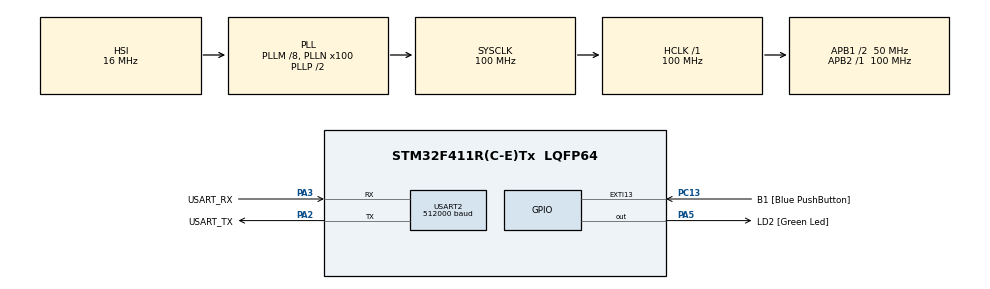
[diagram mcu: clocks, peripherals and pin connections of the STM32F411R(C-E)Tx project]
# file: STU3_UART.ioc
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Dma.Request0=USART2_RX
Dma.Request1=USART2_TX
Dma.USART2_RX.0.Direction=DMA_PERIPH_TO_MEMORY
Dma.USART2_RX.0.FIFOMode=DMA_FIFOMODE_DISABLE
Dma.USART2_RX.0.Instance=DMA1_Stream5
Dma.USART2_RX.0.MemDataAlignment=DMA_MDATAALIGN_BYTE
Dma.USART2_RX.0.MemInc=DMA_MINC_ENABLE
Dma.USART2_RX.0.Mode=DMA_NORMAL
Dma.USART2_RX.0.PeriphDataAlignment=DMA_PDATAALIGN_BYTE
Dma.USART2_RX.0.PeriphInc=DMA_PINC_DISABLE
Dma.USART2_RX.0.Priority=DMA_PRIORITY_LOW
Dma.USART2_TX.1.Direction=DMA_MEMORY_TO_PERIPH
Dma.USART2_TX.1.FIFOMode=DMA_FIFOMODE_DISABLE
Dma.USART2_TX.1.Instance=DMA1_Stream6
Dma.USART2_TX.1.MemDataAlignment=DMA_MDATAALIGN_BYTE
Dma.USART2_TX.1.MemInc=DMA_MINC_ENABLE
Dma.USART2_TX.1.Mode=DMA_NORMAL
Dma.USART2_TX.1.PeriphDataAlignment=DMA_PDATAALIGN_BYTE
Dma.USART2_TX.1.PeriphInc=DMA_PINC_DISABLE
Dma.USART2_TX.1.Priority=DMA_PRIORITY_LOW
Mcu.Family=STM32F4
Mcu.Name=STM32F411R(C-E)Tx
Mcu.Package=LQFP64
NVIC.DMA1_Stream5_IRQn=true\:0\:0\:false\:false\:true\:false\:true
NVIC.DMA1_Stream6_IRQn=true\:0\:0\:false\:false\:true\:false\:true
NVIC.PriorityGroup=NVIC_PRIORITYGROUP_0
NVIC.TIM1_TRG_COM_TIM11_IRQn=true\:0\:0\:false\:false\:true\:true\:true
NVIC.USART2_IRQn=true\:0\:0\:false\:false\:true\:true\:true
PA13.GPIO_Label=TMS
PA13.Mode=Serial_Wire
PA13.Signal=SYS_JTMS-SWDIO
PA14.GPIO_Label=TCK
PA14.Mode=Serial_Wire
PA14.Signal=SYS_JTCK-SWCLK
PA2.GPIO_Label=USART_TX
PA2.Mode=Asynchronous
PA2.Signal=USART2_TX
PA3.GPIO_Label=USART_RX
PA3.Mode=Asynchronous
PA3.Signal=USART2_RX
PA5.GPIO_Label=LD2 [Green Led]
PA5.Signal=GPIO_Output
PB3.GPIO_Label=SWO
PB3.Signal=SYS_JTDO-SWO
PC13-ANTI_TAMP.GPIO_Label=B1 [Blue PushButton]
PC13-ANTI_TAMP.GPIO_ModeDefaultEXTI=GPIO_MODE_IT_FALLING
PC13-ANTI_TAMP.Signal=GPXTI13
PC14-OSC32_IN.Mode=LSE-External-Oscillator
PC14-OSC32_IN.Signal=RCC_OSC32_IN
PC15-OSC32_OUT.Mode=LSE-External-Oscillator
PC15-OSC32_OUT.Signal=RCC_OSC32_OUT
PH0\ -\ OSC_IN.Mode=HSE-External-Clock-Source
PH0\ -\ OSC_IN.Signal=RCC_OSC_IN
PH1\ -\ OSC_OUT.Mode=HSE-External-Clock-Source
PH1\ -\ OSC_OUT.Signal=RCC_OSC_OUT
ProjectManager.HeapSize=0x200
ProjectManager.StackSize=0x400
ProjectManager.TargetToolchain=STM32CubeIDE
RCC.48MHZClocksFreq_Value=50000000
RCC.AHBFreq_Value=100000000
RCC.APB1CLKDivider=RCC_HCLK_DIV2
RCC.APB1Freq_Value=50000000
RCC.APB1TimFreq_Value=100000000
RCC.APB2Freq_Value=100000000
RCC.APB2TimFreq_Value=100000000
RCC.CortexFreq_Value=100000000
RCC.FLatency-AdvancedSettings=FLASH_LATENCY_3
RCC.HCLKFreq_Value=100000000
RCC.HSE_VALUE=8000000
RCC.HSI_VALUE=16000000
RCC.PLLM=8
RCC.PLLN=100
RCC.SYSCLKFreq_VALUE=100000000
RCC.SYSCLKSource=RCC_SYSCLKSOURCE_PLLCLK
RCC.VCOOutputFreq_Value=200000000
TIM11.Prescaler=99
USART2.BaudRate=512000
USART2.Parity=PARITY_EVEN
USART2.VirtualMode=VM_ASYNC
USART2.WordLength=WORDLENGTH_9B
VP_TIM11_VS_ClockSourceINT.Mode=Enable_Timer
board=NUCLEO-F411RE

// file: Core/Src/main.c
/* USER CODE BEGIN Header */
/**
  ******************************************************************************
  * @file           : main.c
  * @brief          : Main program body
  ******************************************************************************
  * @attention
  *
  * Copyright (c) 2022 STMicroelectronics.
  * All rights reserved.
  *
  * This software is licensed under terms that can be found in the LICENSE file
  * in the root directory of this software component.
  * If no LICENSE file comes with this software, it is provided AS-IS.
  *
  ******************************************************************************
  */
/* USER CODE END Header */
#include "main.h"

/* USER CODE BEGIN Includes */
#include <stdio.h>
#include <string.h>
#include <math.h>
/* USER CODE END Includes */

TIM_HandleTypeDef htim11;

UART_HandleTypeDef huart2;
DMA_HandleTypeDef hdma_usart2_rx;
DMA_HandleTypeDef hdma_usart2_tx;

/* USER CODE BEGIN PV */
uint8_t temp_s[2]="Xu";
uint8_t temp_f[2]="Fn";
////////////// transmit parameter ////////////////////
uint8_t Req_sta[4] = {153,0,5,97}; //////////////// station 5
//////////////////////////////////////////////////////
//uint8_t Req_AngPosi[4] = {154,0,0,0};
uint8_t Req_AngPosi[4] = {154,61,18,22};/////////// 15634 , 1.5634 rad 90 degree 6.10865
//uint8_t Req_AngPosi[4] = {154,122,183,52};/////////// 31415 , 3.1415 rad 180 degree
int DataProtocol_AngPosi;
////////////// control///////////////////////////////////
float KalV = 0.942478; // Velo / rad
float KalP = 4.27606; // AngPosi / rad
////////////////////////////////////////////////////////
uint8_t Req_MaxVelo[4] = {155,0,127,229};////////// 5 rpm
float DataProtocol_Velo;
//float DataProtocol_Velo;
////////////// Receive parameter ////////////////////
int Set_AngVelo[2];
float DataProtocol_SetVelo;
float Velocity;
/////////////////////////////////////////////////////
int Set_AngPosi[2];
int DataProtocol_SetAngPosi;
float Finalposition;
/////////////////////////////////////////////////////
int Set1_Sta;
uint8_t Set_Goal_1Sta[2];
uint8_t Set_Goal_nSta[20];
int Goal_nsta[20];
/////////////////////////////////////////////////////
uint16_t datasize = 0;
uint8_t chkStart;
uint8_t chkStart2;
uint8_t NameM;
uint8_t StartM;
uint8_t chkM = 0;
uint8_t chksum;
uint8_t chksum1;
uint8_t chksum2;
uint8_t chksum3;
uint8_t dataF1;
uint8_t dataF2;
uint8_t M_state;
uint8_t Posdata;
uint8_t Nstation;
uint8_t dataFSum;

uint64_t _micros = 0;
uint64_t timestamp = 0;
uint8_t Ang_Position = 0;

uint16_t encdummbuf = 0;

/* USER CODE END PV */

void SystemClock_Config(void);
static void MX_GPIO_Init(void);
static void MX_DMA_Init(void);
static void MX_USART2_UART_Init(void);
static void MX_TIM11_Init(void);
/* USER CODE BEGIN PFP */
void All_mode();
void check_Mode();
void AngPos_Dummy();
uint64_t micros();
void HAL_TIM_PeriodElapsedCallback();
/* USER CODE END PFP */

/* USER CODE BEGIN 0 */

#define RxBuf_SIZE   32
#define MainBuf_SIZE 32

uint8_t RxBuf[RxBuf_SIZE];
uint8_t MainBuf[MainBuf_SIZE];

uint16_t oldPos = 0;
uint16_t newPos = 0;

void HAL_UARTEx_RxEventCallback(UART_HandleTypeDef *huart, uint16_t Size)
{
	if (huart->Instance == USART2)
	{
		oldPos = newPos;
		datasize = Size;
		if (oldPos+Size > MainBuf_SIZE)
		{
			oldPos = 0;
			memcpy ((uint8_t *)MainBuf+oldPos, RxBuf, Size);
			newPos = Size+oldPos;
		}
		else
		{
			memcpy ((uint8_t *)MainBuf+oldPos, RxBuf, Size);
			newPos = Size+oldPos;
		}

		StartM = MainBuf[newPos-datasize];
		chkStart = StartM >> 4;
		NameM = (StartM & 15);
		if (chkStart == 9){//1001
			if (NameM >= 1 && NameM <= 14){//0001 - 1110
				check_Mode();
			}
		}
		else if (StartM == 88) {
			StartM = MainBuf[newPos-2];
			chkStart = StartM >> 4;
			NameM = (StartM & 15);
			if (chkStart == 9){
				if (NameM >= 1 && NameM <= 14){
				check_Mode();
				}
			}
		}

		HAL_UARTEx_ReceiveToIdle_DMA(&huart2, (uint8_t *) RxBuf, RxBuf_SIZE)  ;
		__HAL_DMA_DISABLE_IT(&hdma_usart2_rx, DMA_IT_HT);

	}
}
void check_Mode()
{
		switch (NameM){
			case 1: //10010001 01000000 00000000 00101110
				chksum = MainBuf[newPos-1];
				dataF2 = MainBuf[newPos-2];
				dataF1 = MainBuf[newPos-3];
				chksum2 = ~(StartM + dataF1 + dataF2);
				if (chksum == chksum2){
					M_state = 1;
					HAL_UART_Transmit_DMA(&huart2, (uint8_t*)temp_s, 2);
					//HAL_UART_Transmit(&huart2, (uint8_t*)temp_s, 2 ,1000); //Xu
				}
				break;
			case 2: //10010010 01101101
				chksum = MainBuf[newPos-1];
				chksum1 = ~(StartM);
				if (chksum == chksum1){
					M_state = 2;
					HAL_UART_Transmit_DMA(&huart2, (uint8_t*)temp_s, 2);
					//HAL_UART_Transmit(&huart2, (uint8_t*)temp_s, 2 ,1000); //Xu
				}
				break;
			case 3: //10010011 01101100
					chksum = MainBuf[newPos-1];
					chksum1 = ~(StartM);
				if (chksum == chksum1){
					M_state = 3;
					HAL_UART_Transmit_DMA(&huart2, (uint8_t*)temp_s, 2);
					//HAL_UART_Transmit(&huart2, (uint8_t*)temp_s, 2 ,1000); //Xu
				}
				break;
			case 4:
					chksum = MainBuf[newPos-1];
					dataF2 = MainBuf[newPos-2];
					dataF1 = MainBuf[newPos-3];
					Set_AngVelo[0] = dataF1;
					Set_AngVelo[1] = dataF2;
					chksum2 = ~(StartM + dataF1 + dataF2);
				if (chksum == chksum2){
					M_state = 4;
					DataProtocol_SetVelo = Set_AngVelo[1];
					Velocity = (DataProtocol_SetVelo * 10)/255;
					HAL_UART_Transmit_DMA(&huart2, (uint8_t*)temp_s, 2);
					//HAL_UART_Transmit(&huart2, (uint8_t*)temp_s, 2 ,1000); //Xu
				}
				break;
			case 5:
					chksum = MainBuf[newPos-1];
					dataF2 = MainBuf[newPos-2];
					dataF1 = MainBuf[newPos-3];
					Set_AngPosi[0] = dataF1;
					Set_AngPosi[1] = dataF2;
					chksum2 = ~(StartM + dataF1 + dataF2);
				if (chksum == chksum2){
					M_state = 5;
					DataProtocol_SetAngPosi = (Set_AngPosi[0]*256) + Set_AngPosi[1];
					Finalposition = (DataProtocol_SetAngPosi / (3.14 * 10000) * 180);
					HAL_UART_Transmit_DMA(&huart2, (uint8_t*)temp_s, 2);
					//HAL_UART_Transmit(&huart2, (uint8_t*)temp_s, 2 ,1000); //Xu
				}
				break;
			case 6:
					chksum = MainBuf[newPos-1];
					dataF2 = MainBuf[newPos-2];
					dataF1 = MainBuf[newPos-3];
					Set_Goal_1Sta[0] = dataF1;
					Set_Goal_1Sta[1] = dataF2;
					chksum2 = ~(StartM + dataF1 + dataF2);
				if (chksum == chksum2){
					M_state = 6;
					Set1_Sta = Set_Goal_1Sta[1];
					HAL_UART_Transmit_DMA(&huart2, (uint8_t*)temp_s, 2);
					//HAL_UART_Transmit(&huart2, (uint8_t*)temp_s, 2 ,1000); //Xu
				}
				break;
			case 7:
				Nstation = MainBuf[(newPos-datasize)+1];
				int y = Nstation;
				int z = (y/2) + (y%2);
				int k = 0;
				for(int i=0; i < z; i++ ){
					dataFSum += MainBuf[oldPos+(i+2)];
					Set_Goal_nSta[i] = MainBuf[oldPos+(i+2)];
				}
				for(int x=1; x < Nstation+1; x++){
					if(x % 2 == 1){
						Goal_nsta[x-1] = (Set_Goal_nSta[k] % 16);
					}else if(x % 2 == 0){
						Goal_nsta[x-1] = (Set_Goal_nSta[k] / 16);
						k += 1;
					}
				}
				chksum = MainBuf[newPos-1];
				chksum3 = ~(StartM + Nstation + dataFSum);
				if (chksum == chksum3){
					M_state = 7;

					dataFSum = 0;
					HAL_UART_Transmit_DMA(&huart2, (uint8_t*)temp_s, 2);
					//HAL_UART_Transmit(&huart2, (uint8_t*)temp_s, 2 ,1000); //Xu
				}
				break;
			case 8: //10011000 01100111
				chksum = MainBuf[newPos-1];
				chksum1 = ~(StartM);
				if (chksum == chksum1){
					M_state = 8;
					HAL_UART_Transmit_DMA(&huart2, (uint8_t*)temp_s, 2);
					//HAL_UART_Transmit(&huart2, (uint8_t*)temp_s, 2 ,1000); //Xu
					///////////////// work //////////////////////////
					HAL_UART_Transmit_DMA(&huart2, (uint8_t*)temp_f, 2);
					//HAL_UART_Transmit(&huart2, (uint8_t*)temp_f, 2 ,1000);
				}
				break;
			case 9: //10011001 01100110
				chksum = MainBuf[newPos-1];
				chksum1 = ~(StartM);
				if (chksum == chksum1){
					M_state = 9;
//					HAL_UART_Transmit_DMA(&huart2, (uint8_t*)temp_s, 2);
//					HAL_UART_Transmit_DMA(&huart2, (uint8_t*)Req_sta, 4);
					HAL_UART_Transmit(&huart2, (uint8_t*)temp_s, 2 ,1000);
					//Req_sta[1] = 0;
					//Req_sta[2] = x;
					//Req_sta[3] = ~(Req_sta[0] + Req_sta[1] + Req_sta[2]);
					HAL_UART_Transmit(&huart2, (uint8_t*)Req_sta, 4 ,1000);
				}
				break;
			case 10: //10011010 01100101
				chksum = MainBuf[newPos-1];
				chksum1 = ~(StartM);
				if (chksum == chksum1){
					M_state = 10;
//					HAL_UART_Transmit_DMA(&huart2, (uint8_t*)temp_s, 2);
					HAL_UART_Transmit(&huart2, (uint8_t*)temp_s, 2 ,1000);
//					DataProtocol_AngPosi = (KalP * 10000);
//					Req_AngPosi[1] = (DataProtocol_AngPosi / 256);
//					Req_AngPosi[2] = (DataProtocol_AngPosi % 256);
//					Req_AngPosi[3] = ~(Req_AngPosi[0] + Req_AngPosi[1] + Req_AngPosi[2]);
//					HAL_UART_Transmit_DMA(&huart2, (uint8_t*)Req_AngPosi, 4);
					HAL_UART_Transmit(&huart2, (uint8_t*)Req_AngPosi, 4 ,1000);
				}
				break;
			case 11: //10011011 01100100
				chksum = MainBuf[newPos-1];
				chksum1 = ~(StartM);
				if (chksum == chksum1){
					M_state = 11;
//					HAL_UART_Transmit_DMA(&huart2, (uint8_t*)temp_s, 2);
					HAL_UART_Transmit(&huart2, (uint8_t*)temp_s, 2 ,1000);
//					DataProtocol_Velo = (KalV/(2 * 3.14)) * 60;
//					Req_MaxVelo[1] = 0;
//					Req_MaxVelo[2] = (DataProtocol_Velo * 255) / 10;
//					Req_MaxVelo[3] = ~(Req_MaxVelo[0] + Req_MaxVelo[1] + Req_MaxVelo[2]);
//					HAL_UART_Transmit_DMA(&huart2, (uint8_t*)Req_MaxVelo, 4);
					HAL_UART_Transmit(&huart2, (uint8_t*)Req_MaxVelo, 4 ,1000);
				}
				break;
			case 12: //10011100 01100011
				chksum = MainBuf[newPos-1];
				chksum1 = ~(StartM);
				if (chksum == chksum1){
					M_state = 12;
//					HAL_UART_Transmit_DMA(&huart2, (uint8_t*)temp_s, 2);
					HAL_UART_Transmit(&huart2, (uint8_t*)temp_s, 2 ,1000); //Xu
				}
				break;
			case 13: //10011101 01100010
				chksum = MainBuf[newPos-1];
				chksum1 = ~(StartM);
				if (chksum == chksum1){
					M_state = 13;
//					HAL_UART_Transmit_DMA(&huart2, (uint8_t*)temp_s, 2);
					HAL_UART_Transmit(&huart2, (uint8_t*)temp_s, 2 ,1000); //Xu
				}
				break;
			case 14: //10011110 01100001
				chksum = MainBuf[newPos-1];
				chksum1 = ~(StartM);
				if (chksum == chksum1){
					M_state = 14;
//					HAL_UART_Transmit_DMA(&huart2, (uint8_t*)temp_s, 2);
					HAL_UART_Transmit(&huart2, (uint8_t*)temp_s, 2 ,1000); //Xu
				}
				break;
			}

}
/* USER CODE END 0 */

int main(void)
{

  /* MCU Configuration--------------------------------------------------------*/

  /* Reset of all peripherals, Initializes the Flash interface and the Systick. */
  HAL_Init();

  /* Configure the system clock */
  SystemClock_Config();

  /* Initialize all configured peripherals */
  MX_GPIO_Init();
  MX_DMA_Init();
  MX_USART2_UART_Init();
  MX_TIM11_Init();
  /* USER CODE BEGIN 2 */
  HAL_UARTEx_ReceiveToIdle_DMA(&huart2, RxBuf, RxBuf_SIZE);
  __HAL_DMA_DISABLE_IT(&hdma_usart2_rx, DMA_IT_HT);
  HAL_TIM_Base_Start_IT(&htim11);

  /* USER CODE END 2 */

  /* Infinite loop */
  while (1)
  {

    /* USER CODE BEGIN 3 */

	  if(micros() - timestamp >= 100000){
		  timestamp = micros();
		  encdummbuf++;
		  encdummbuf%=1023;
		  KalP = 0.006136 * encdummbuf;
	  }
  }
  /* USER CODE END 3 */
}

void SystemClock_Config(void)
{
  RCC_OscInitTypeDef RCC_OscInitStruct = {0};
  RCC_ClkInitTypeDef RCC_ClkInitStruct = {0};

  /** Configure the main internal regulator output voltage
  */
  __HAL_RCC_PWR_CLK_ENABLE();
  __HAL_PWR_VOLTAGESCALING_CONFIG(PWR_REGULATOR_VOLTAGE_SCALE1);
  /** Initializes the RCC Oscillators according to the specified parameters
  * in the RCC_OscInitTypeDef structure.
  */
  RCC_OscInitStruct.OscillatorType = RCC_OSCILLATORTYPE_HSI;
  RCC_OscInitStruct.HSIState = RCC_HSI_ON;
  RCC_OscInitStruct.HSICalibrationValue = RCC_HSICALIBRATION_DEFAULT;
  RCC_OscInitStruct.PLL.PLLState = RCC_PLL_ON;
  RCC_OscInitStruct.PLL.PLLSource = RCC_PLLSOURCE_HSI;
  RCC_OscInitStruct.PLL.PLLM = 8;
  RCC_OscInitStruct.PLL.PLLN = 100;
  RCC_OscInitStruct.PLL.PLLP = RCC_PLLP_DIV2;
  RCC_OscInitStruct.PLL.PLLQ = 4;
  if (HAL_RCC_OscConfig(&RCC_OscInitStruct) != HAL_OK)
  {
    Error_Handler();
  }
  /** Initializes the CPU, AHB and APB buses clocks
  */
  RCC_ClkInitStruct.ClockType = RCC_CLOCKTYPE_HCLK|RCC_CLOCKTYPE_SYSCLK
                              |RCC_CLOCKTYPE_PCLK1|RCC_CLOCKTYPE_PCLK2;
  RCC_ClkInitStruct.SYSCLKSource = RCC_SYSCLKSOURCE_PLLCLK;
  RCC_ClkInitStruct.AHBCLKDivider = RCC_SYSCLK_DIV1;
  RCC_ClkInitStruct.APB1CLKDivider = RCC_HCLK_DIV2;
  RCC_ClkInitStruct.APB2CLKDivider = RCC_HCLK_DIV1;

  if (HAL_RCC_ClockConfig(&RCC_ClkInitStruct, FLASH_LATENCY_3) != HAL_OK)
  {
    Error_Handler();
  }
}

static void MX_TIM11_Init(void)
{

  htim11.Instance = TIM11;
  htim11.Init.Prescaler = 99;
  htim11.Init.CounterMode = TIM_COUNTERMODE_UP;
  htim11.Init.Period = 65535;
  htim11.Init.ClockDivision = TIM_CLOCKDIVISION_DIV1;
  htim11.Init.AutoReloadPreload = TIM_AUTORELOAD_PRELOAD_DISABLE;
  if (HAL_TIM_Base_Init(&htim11) != HAL_OK)
  {
    Error_Handler();
  }

}

static void MX_USART2_UART_Init(void)
{

  huart2.Instance = USART2;
  huart2.Init.BaudRate = 512000;
  huart2.Init.WordLength = UART_WORDLENGTH_9B;
  huart2.Init.StopBits = UART_STOPBITS_1;
  huart2.Init.Parity = UART_PARITY_EVEN;
  huart2.Init.Mode = UART_MODE_TX_RX;
  huart2.Init.HwFlowCtl = UART_HWCONTROL_NONE;
  huart2.Init.OverSampling = UART_OVERSAMPLING_16;
  if (HAL_UART_Init(&huart2) != HAL_OK)
  {
    Error_Handler();
  }

}

static void MX_DMA_Init(void)
{

  /* DMA controller clock enable */
  __HAL_RCC_DMA1_CLK_ENABLE();

  /* DMA interrupt init */
  /* DMA1_Stream5_IRQn interrupt configuration */
  HAL_NVIC_SetPriority(DMA1_Stream5_IRQn, 0, 0);
  HAL_NVIC_EnableIRQ(DMA1_Stream5_IRQn);
  /* DMA1_Stream6_IRQn interrupt configuration */
  HAL_NVIC_SetPriority(DMA1_Stream6_IRQn, 0, 0);
  HAL_NVIC_EnableIRQ(DMA1_Stream6_IRQn);

}

static void MX_GPIO_Init(void)
{
  GPIO_InitTypeDef GPIO_InitStruct = {0};

  /* GPIO Ports Clock Enable */
  __HAL_RCC_GPIOC_CLK_ENABLE();
  __HAL_RCC_GPIOH_CLK_ENABLE();
  __HAL_RCC_GPIOA_CLK_ENABLE();
  __HAL_RCC_GPIOB_CLK_ENABLE();

  /*Configure GPIO pin Output Level */
  HAL_GPIO_WritePin(LD2_GPIO_Port, LD2_Pin, GPIO_PIN_RESET);

  /*Configure GPIO pin : B1_Pin */
  GPIO_InitStruct.Pin = B1_Pin;
  GPIO_InitStruct.Mode = GPIO_MODE_IT_FALLING;
  GPIO_InitStruct.Pull = GPIO_NOPULL;
  HAL_GPIO_Init(B1_GPIO_Port, &GPIO_InitStruct);

  /*Configure GPIO pin : LD2_Pin */
  GPIO_InitStruct.Pin = LD2_Pin;
  GPIO_InitStruct.Mode = GPIO_MODE_OUTPUT_PP;
  GPIO_InitStruct.Pull = GPIO_NOPULL;
  GPIO_InitStruct.Speed = GPIO_SPEED_FREQ_LOW;
  HAL_GPIO_Init(LD2_GPIO_Port, &GPIO_InitStruct);

}

/* USER CODE BEGIN 4 */
void HAL_TIM_PeriodElapsedCallback(TIM_HandleTypeDef *htim)
{
 if(htim == &htim11)
 {
	 _micros += 65535;
 }
}
//TIM microsecond measure function Read time of _micros  + time of TIM11
uint64_t micros()
{
	return _micros + htim11.Instance->CNT;
}
/* USER CODE END 4 */

void Error_Handler(void)
{
  __disable_irq();
  while (1)
  {
  }
}
